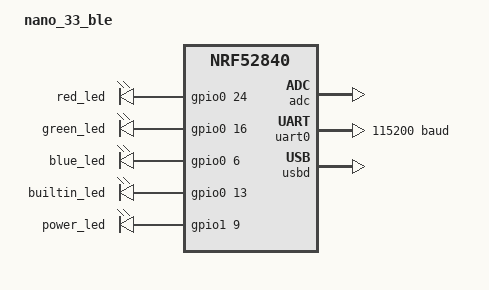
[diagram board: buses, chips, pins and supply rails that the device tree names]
/*
 * Copyright (c) 2021 The ZMK Contributors
 *
 * SPDX-License-Identifier: MIT
 */

#include <nordic/nrf52840_qiaa.dtsi>
#include "nano_33_ble-pinctrl.dtsi"
#include "nano_33_ble_pins.dtsi"

/ {
    model = "nano_33_ble";
    compatible = "nano,33ble";

    chosen {
        zephyr,code-partition = &code_partition;
        zephyr,sram = &sram0;
        zephyr,flash = &flash0;
    };

    leds {
        compatible = "gpio-leds";
        red_led: led_0 {
            gpios = <&gpio0 24 GPIO_ACTIVE_HIGH>;
        };
        green_led: led_1 {
            gpios = <&gpio0 16 GPIO_ACTIVE_HIGH>;
        };
        blue_led: led_2 {
            gpios = <&gpio0 6 GPIO_ACTIVE_HIGH>;
        };
        builtin_led: led_3 {
            gpios = <&gpio0 13 GPIO_ACTIVE_HIGH>;
        };
        power_led: led_4 {
            gpios = <&gpio1 9 GPIO_ACTIVE_HIGH>;
        };
    };
};

&adc {
    status = "okay";
};

&gpiote {
    status = "okay";
};

&gpio0 {
    status = "okay";
};

&gpio1 {
    status = "okay";
};

&i2c0 {
    compatible = "nordic,nrf-twi";
    pinctrl-0 = <&i2c0_default>;
    pinctrl-1 = <&i2c0_sleep>;
    pinctrl-names = "default", "sleep";
};

&spi1 {
    compatible = "nordic,nrf-spim";
    pinctrl-0 = <&spi1_default>;
    pinctrl-1 = <&spi1_sleep>;
    pinctrl-names = "default", "sleep";
};

&uart0 {
    compatible = "nordic,nrf-uarte";
    current-speed = <115200>;
    pinctrl-0 = <&uart0_default>;
    pinctrl-1 = <&uart0_sleep>;
    pinctrl-names = "default", "sleep";
};

zephyr_udc0: &usbd {
    status = "okay";
};


&flash0 {
    /*
     * For more information, see:
     * http://docs.zephyrproject.org/latest/devices/dts/flash_partitions.html
     */
    partitions {
        compatible = "fixed-partitions";
        #address-cells = <1>;
        #size-cells = <1>;

        sd_partition: partition@0 {
            reg = <0x00000000 0x00026000>;
        };
        code_partition: partition@26000 {
            reg = <0x00026000 0x000c6000>;
        };

        /*
         * The flash starting at 0x000ec000 and ending at
         * 0x000f3fff is reserved for use by the application.
         */

        /*
         * Storage partition will be used by FCB/LittleFS/NVS
         * if enabled.
         */
        storage_partition: partition@ec000 {
            reg = <0x000ec000 0x00008000>;
        };

        boot_partition: partition@f4000 {
            reg = <0x000f4000 0x0000c000>;
        };
    };
};
